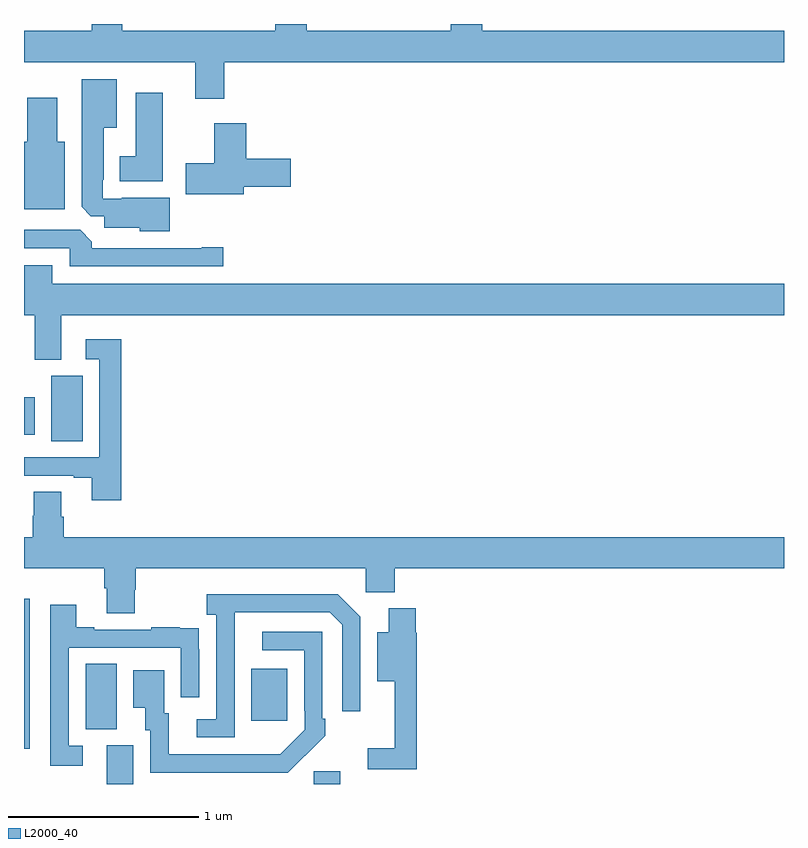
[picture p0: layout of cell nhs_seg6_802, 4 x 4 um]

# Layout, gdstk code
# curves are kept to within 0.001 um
import gdstk
lib = gdstk.Library(unit=1e-6, precision=1e-09)
def R(c, l, rs):  # rectangles x0, y0, x1, y1
    for r in rs: c.add(gdstk.rectangle(r[:2], r[2:], *l))
def P(c, l, *ps):  # polygons
    for p in ps: c.add(gdstk.Polygon(p, *l))
L2000_40 = (2000, 40)

nhs_seg6_802 = lib.new_cell('nhs_seg6_802')
R(nhs_seg6_802, L2000_40, [(161.435,979.5,161.575,979.704), (162.525,979.5,162.664,979.566), (161,979.685,161.029,980.476), (161.324,979.789,161.488,980.132), (162.197,979.833,162.385,980.107), (161.144,981.304,161.308,981.648), (161,981.339,161.056,981.535)])
P(nhs_seg6_802, L2000_40, [(165,983.464),(163.412,983.464),(163.412,983.5),(163.247,983.5),(163.247,983.464),(162.488,983.464),(162.488,983.5),(162.323,983.5),(162.323,983.464),(161.516,983.464),(161.516,983.5),(161.356,983.5),(161.356,983.464),(161,983.464),(161,983.3),(161.9,983.3),(161.9,983.106),(162.053,983.106),(162.053,983.3),(165,983.3)],
  [(161.767,982.585),(161.515,982.585),(161.515,982.581),(161.415,982.581),(161.415,982.681),(161.419,982.681),(161.419,982.955),(161.488,982.955),(161.488,983.209),(161.303,983.209),(161.303,982.537),(161.352,982.488),(161.423,982.488),(161.423,982.427),(161.61,982.427),(161.61,982.409),(161.767,982.409)],
  [(161.731,983.137),(161.588,983.137),(161.588,982.804),(161.504,982.804),(161.504,982.673),(161.731,982.673)],
  [(161.215,982.879),(161.176,982.879),(161.176,983.113),(161.018,983.113),(161.018,982.879),(161,982.879),(161,982.526),(161.215,982.526)],
  [(162.157,982.643),(162.403,982.643),(162.403,982.79),(162.17,982.79),(162.17,982.978),(162.002,982.978),(162.002,982.767),(161.85,982.767),(161.85,982.604),(162.157,982.604)],
  [(162.049,982.325),(161.936,982.325),(161.936,982.32),(161.357,982.32),(161.357,982.354),(161.295,982.416),(161,982.416),(161,982.32),(161.241,982.32),(161.241,982.224),(162.049,982.224)],
  [(161.197,981.968),(165,981.968),(165,982.132),(161.149,982.132),(161.149,982.231),(161,982.231),(161,981.968),(161.057,981.968),(161.057,981.733),(161.197,981.733)],
  [(161.513,981.841),(161.325,981.841),(161.325,981.735),(161.397,981.735),(161.397,981.219),(161,981.219),(161,981.123),(161.261,981.123),(161.261,981.111),(161.357,981.111),(161.357,980.994),(161.513,980.994)],
  [(161.21,980.906),(161.197,980.906),(161.197,981.038),(161.05,981.038),(161.05,980.913),(161.045,980.913),(161.045,980.8),(161,980.8),(161,980.636),(161.423,980.636),(161.423,980.53),(161.435,980.53),(161.435,980.398),(161.583,980.398),(161.583,980.523),(161.588,980.523),(161.588,980.636),(162.798,980.636),(162.798,980.51),(162.95,980.51),(162.95,980.636),(165,980.636),(165,980.8),(161.21,980.8)],
  [(162.108,980.203),(162.109,980.403),(162.609,980.403),(162.675,980.337),(162.675,979.884),(162.771,979.884),(162.771,980.379),(162.65,980.5),(161.961,980.5),(161.961,980.39),(162.012,980.39),(162.012,979.842),(161.91,979.842),(161.91,979.746),(162.108,979.746)],
  [(161.308,979.701),(161.235,979.701),(161.235,980.217),(161.826,980.217),(161.826,979.956),(161.922,979.956),(161.922,980.21),(161.921,980.21),(161.921,980.319),(161.819,980.319),(161.819,980.326),(161.671,980.326),(161.671,980.313),(161.371,980.313),(161.371,980.326),(161.275,980.326),(161.275,980.443),(161.139,980.443),(161.139,979.596),(161.308,979.596)],
  [(163.067,980.295),(163.061,980.295),(163.061,980.425),(162.92,980.425),(162.92,980.299),(162.86,980.299),(162.86,980.042),(162.95,980.042),(162.95,979.687),(162.81,979.687),(162.81,979.578),(163.067,979.578)],
  [(162.479,979.651),(162.48,979.65),(162.585,979.755),(162.585,979.843),(162.57,979.843),(162.57,980.301),(162.255,980.301),(162.255,980.205),(162.474,980.205),(162.474,979.885),(162.477,979.885),(162.477,979.785),(162.349,979.657),(161.761,979.656),(161.761,979.872),(161.737,979.872),(161.737,980.098),(161.576,980.098),(161.576,979.901),(161.639,979.901),(161.639,979.782),(161.664,979.782),(161.664,979.56),(162.388,979.56)])

lib.write_gds('nhs_seg6_802.gds')
